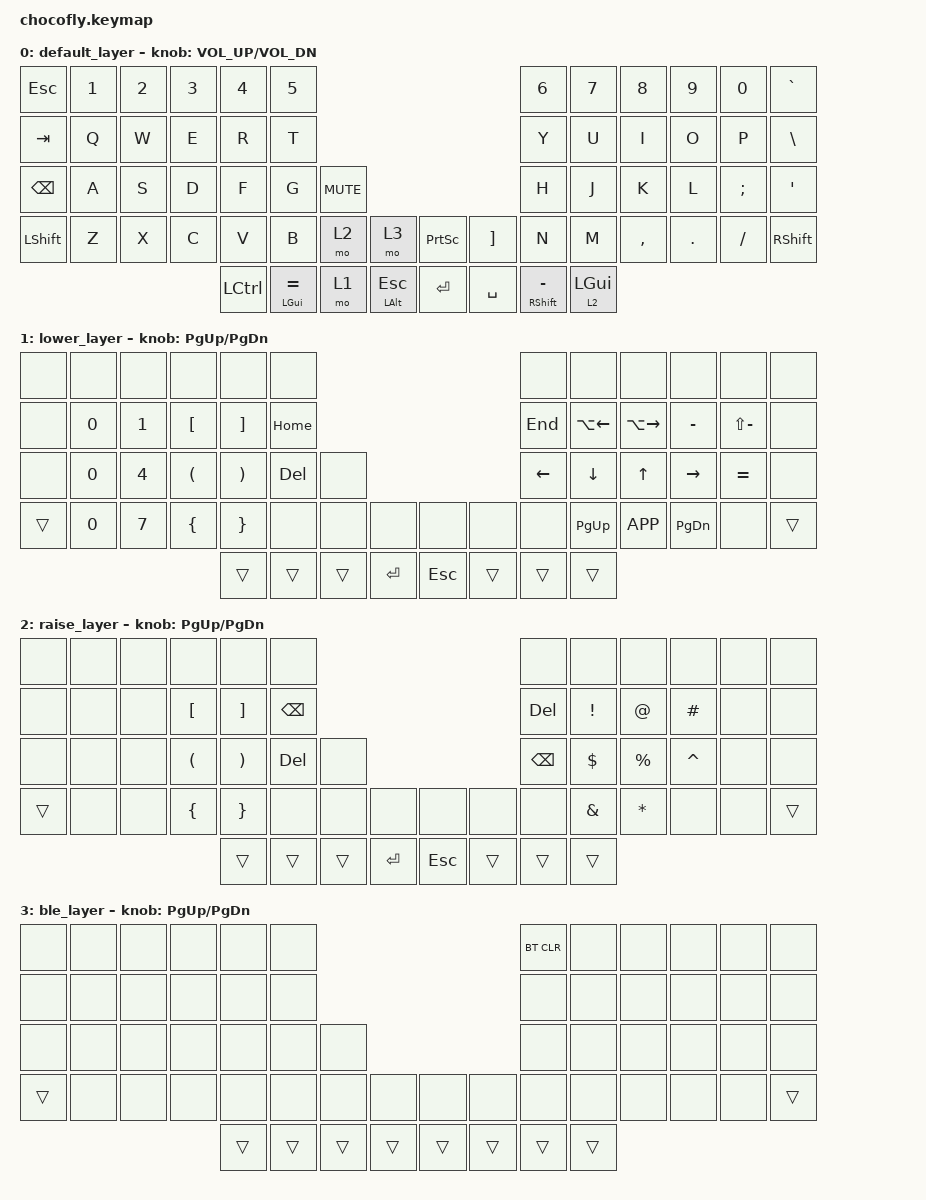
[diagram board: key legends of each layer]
#include <behaviors.dtsi>
#include <dt-bindings/zmk/keys.h>
#include <dt-bindings/zmk/bt.h>

&lt { quick_tap_ms = <200>; };
&mt { quick_tap_ms = <200>; };

/ {
    combos {
        compatible = "zmk,combos";
        combo_skip_left {
            timeout-ms = <50>;
            key-positions = <1 8>;
            layers = <1>;
            bindings = <&kp LALT &kp LEFT>;
        };
        combo_skip_right {
            timeout-ms = <50>;
            key-positions = <1 9>;
            layers = <1>;
            bindings = <&kp LALT &kp RIGHT>;
        };
    };
};

/ {
    keymap {
        compatible = "zmk,keymap";

        default_layer {
// ------------------------------------------------------------------------                                              -----------------------------------------------------------------
// |   ESC   |    1    |    2    |    3    |  4          |  5             |                                              |  6            |    7     |    8    |   9   |   0    |    `    |
// |   TAB   |    Q    |    W    |    E    |  R          |  T             |-----------                                   |  Y            |    U     |    I    |   O   |   P    |    \    |
// |   BSPC  |    A    |    S    |    D    |  F          |  G             |   VOL_M  |-----------------------------------|  H            |    J     |    K    |   L   |   ;    |    '    |
// |   SHIFT |    Z    |    X    |    C    |  V          |  B             |   GRAVE  |     SHIFT   |  PR_SCR    |    ]   |  N            |    M     |    ,    |   .   |   /    | R SHIFT |
// ----------------------------------------|  GUI        |  CTRL          |   FN     |     ESCAPE  |  ENTER     |  SPACE |  R SHIFT      |   GUI    |-------------------------------------
//                                         ----------------------------------------------------------------------------------------------------------
           bindings = <
    &kp ESC       &kp N1   &kp N2   &kp N3   &kp N4        &kp N5                                                          &kp N6          &kp N7     &kp N8    &kp N9  &kp N0   &kp GRAVE
    &kp TAB       &kp Q    &kp W    &kp E    &kp R         &kp T                                                           &kp Y           &kp U      &kp I     &kp O   &kp P    &kp BSLH
    &kp BSPC      &kp A    &kp S    &kp D    &kp F         &kp G           &kp K_MUTE                                      &kp H           &kp J      &kp K     &kp L   &kp SEMI &kp SQT
    &kp LSHFT     &kp Z    &kp X    &kp C    &kp V         &kp B           &mo 2       &mo 3        &kp PSCRN    &kp RBKT  &kp N           &kp M      &kp COMMA &kp DOT &kp FSLH &kp RSHFT
                                             &kp LCTRL     &mt LGUI EQUAL  &mo 1       &mt LALT ESC &kp RET      &kp SPACE &mt RSHFT MINUS &lt 2 LGUI
            >;
            sensor-bindings = <&inc_dec_kp K_VOL_UP K_VOL_DN>;
        };

        lower_layer {
// -------------------------------------------------------------                                       -------------------------------------------------------------
// |         |         |         |         |         |         |                                       |         |         |         |         |         |         |
// |         |    0    |    1    |    [    |    ]    |  HOME   |----------                             |  END    |   SKIPL |  SKIPR  |    -    |    _    |         |
// |         |    0    |    4    |    (    |    )    |  DEL    |         |-----------------------------|  LEFT   |   DOWN  |   UP    |  RIGHT  |    =    |         |
// |    -    |    0    |    7    |    {    |    }    |         |         |         |         |         |         |   PG UP | APP MENU| PG DOWN |         |    -    |
// ----------------------------------------|    -    |  -      |    -    |  ENTER  | ESCAPE  |    -    |    -    |    -    |----------------------------------------
//                                         ---------------------------------------------------------------------------------
            bindings = <
    &none         &none    &none    &none     &none     &none                                          &none       &none        &none         &none      &none         &none
    &none         &kp N0   &kp N1   &kp LBKT  &kp RBKT  &kp HOME                                       &kp END     &kp LA(LEFT) &kp LA(RIGHT) &kp MINUS  &kp LS(MINUS) &none
    &none         &kp N0   &kp N4   &kp LPAR  &kp RPAR  &kp DEL   &none                                &kp LEFT    &kp DOWN     &kp UP        &kp RIGHT  &kp EQUAL     &none
    &trans        &kp N0   &kp N7   &kp LBRC  &kp RBRC  &none     &none   &none    &none     &none     &none       &kp PG_UP    &kp K_APP     &kp PG_DN  &none         &trans
                                              &trans    &trans    &trans  &kp RET  &kp ESC   &trans    &trans      &trans
            >;
            sensor-bindings = <&inc_dec_kp PG_UP PG_DN>;
        };

        raise_layer {
// -------------------------------------------------------------                                        -------------------------------------------------------------
// |         |         |         |         |         |         |                                       |         |         |         |         |         |         |
// |         |         |         |    [    |    ]    |    BSPC |----------                             |  DEL    |    !    |    @    |    #    |         |         |
// |         |         |         |    (    |    )    |    DEL  |         |-----------------------------|  BSPC   |    $    |    %    |    ^    |         |         |
// |    -    |         |         |    {    |    }    |         |         |         |         |         |         |    &    |    *    |    .    |         |    -    |
// ----------------------------------------|    -    |    -    |    -    |  ENTER  | ESCAPE  |    -    |    -    |    -    |----------------------------------------
//                                         ---------------------------------------------------------------------------------
            bindings = <
    &none         &none    &none    &none     &none     &none                                          &none      &none     &none     &none      &none    &none
    &none         &none    &none    &kp LBKT  &kp RBKT  &kp BSPC                                       &kp DEL    &kp EXCL  &kp AT    &kp HASH   &none    &none
    &none         &none    &none    &kp LPAR  &kp RPAR  &kp DEL   &none                                &kp BSPC   &kp DLLR  &kp PRCNT &kp CARET  &none    &none
    &trans        &none    &none    &kp LBRC  &kp RBRC  &none     &none   &none    &none     &none     &none      &kp AMPS  &kp ASTRK &none      &none    &trans
                                              &trans    &trans    &trans  &kp RET  &kp ESC   &trans    &trans     &trans
            >;
            sensor-bindings = <&inc_dec_kp PG_UP PG_DN>;
        };

        ble_layer {
// -------------------------------------------------------------                                       -------------------------------------------------------------
// |         |         |         |         |         |         |                                       | BT_CLR  |         |         |         |         |         |
// |         |         |         |         |         |         |----------                             |         |         |         |         |         |         |
// |         |         |         |         |         |         |         |-----------------------------|         |         |         |         |         |         |
// |    -    |         |         |         |         |         |         |         |         |         |         |         |         |         |         |    -    |
// ----------------------------------------|    -    |    -    |    -    |    -    |    -    |    -    |    -    |    -    |----------------------------------------
//                                         ---------------------------------------------------------------------------------
            bindings = <
    &none         &none    &none    &none     &none     &none                                          &bt BT_CLR &none    &none    &none    &none    &none
    &none         &none    &none    &none     &none     &none                                          &none      &none    &none    &none    &none    &none
    &none         &none    &none    &none     &none     &none     &none                                &none      &none    &none    &none    &none    &none
    &trans        &none    &none    &none     &none     &none     &none   &none    &none     &none     &none      &none    &none    &none    &none    &trans
                                              &trans    &trans    &trans  &trans   &trans    &trans    &trans     &trans
            >;
            sensor-bindings = <&inc_dec_kp PG_UP PG_DN>;
        };
    };
};
